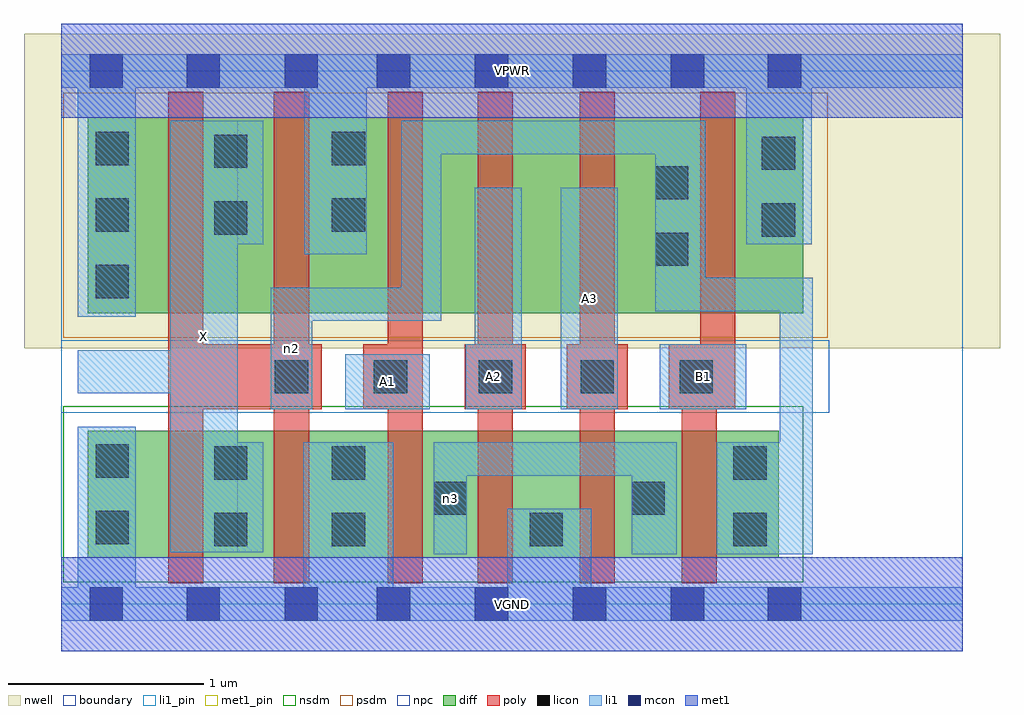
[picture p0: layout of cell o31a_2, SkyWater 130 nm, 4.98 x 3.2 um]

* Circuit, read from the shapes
.subckt o31a_2 A1 A2 A3 B1 VGND VPWR X n2 n3
XM1 X n2 VGND VSUBS sky130_fd_pr__nfet_01v8 w=0.65 l=0.18 m=2
XM2 n3 A1 VGND VSUBS sky130_fd_pr__nfet_01v8 w=0.65 l=0.18
XM3 VGND A2 n3 VSUBS sky130_fd_pr__nfet_01v8 w=0.65 l=0.18
XM4 n3 A3 VGND VSUBS sky130_fd_pr__nfet_01v8 w=0.65 l=0.18
XM5 n2 B1 n3 VSUBS sky130_fd_pr__nfet_01v8 w=0.65 l=0.18
XM6 X n2 VPWR n1 sky130_fd_pr__pfet_01v8 w=1 l=0.18 m=2
XM7 n4 A1 VPWR n1 sky130_fd_pr__pfet_01v8 w=1 l=0.18
XM8 n5 A2 n4 n1 sky130_fd_pr__pfet_01v8 w=1 l=0.18
XM9 n2 A3 n5 n1 sky130_fd_pr__pfet_01v8 w=1 l=0.18
XM10 VPWR B1 n2 n1 sky130_fd_pr__pfet_01v8 w=1 l=0.18
.ends

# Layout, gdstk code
import gdstk
lib = gdstk.Library(unit=1e-6, precision=1e-09)
def R(c, l, rs):  # rectangles x0, y0, x1, y1
    for r in rs: c.add(gdstk.rectangle(r[:2], r[2:], *l))
def A(c, l, x, y, w, h, nx, ny, dx, dy):  # array of equal rectangles
    R(c, l, [(x+i*dx, y+j*dy, x+i*dx+w, y+j*dy+h) for i in range(nx) for j in range(ny)])
nwell = (64, 20)
diff = (65, 20)
poly = (66, 20)
licon = (66, 44)
li1_pin = (67, 16)
li1 = (67, 20)
mcon = (67, 44)
met1_pin = (68, 16)
met1 = (68, 20)
nsdm = (93, 44)
psdm = (94, 20)
npc = (95, 20)
boundary = (235, 4)

o31a_2 = lib.new_cell('o31a_2')
R(o31a_2, nwell, [(-0.19,1.305,4.79,2.91), (0,1.305,4.6,2.91)])
R(o31a_2, diff, [(0.135,0.235,3.66,0.885), (0.135,1.485,3.785,2.485)])
R(o31a_2, poly, [(0.545,0.105,0.725,2.615), (1.085,0.105,1.265,2.615), (1.665,0.105,1.845,2.615), (2.125,0.105,2.305,2.615), (2.645,0.105,2.825,2.615), (3.165,0.105,3.345,1.325), (0.545,0.995,1.33,1.325), (1.54,0.995,1.845,1.325), (2.06,0.995,2.37,1.325), (2.58,0.995,2.89,1.325), (3.1,0.995,3.44,1.325), (3.26,0.995,3.44,2.615)])
A(o31a_2, licon, 0.175, 1.56, 0.17, 0.17, 1, 3, 0, 0.34)
R(o31a_2, licon, [(0.78,0.295,0.95,0.465), (1.38,0.295,1.55,0.465), (2.39,0.295,2.56,0.465), (3.43,0.295,3.6,0.465), (0.175,0.305,0.345,0.475), (1.9,0.455,2.07,0.625), (2.91,0.455,3.08,0.625), (0.78,0.635,0.95,0.805), (1.38,0.635,1.55,0.805), (3.43,0.635,3.6,0.805), (0.175,0.645,0.345,0.815), (1.09,1.075,1.26,1.245), (1.595,1.075,1.765,1.245), (2.13,1.075,2.3,1.245), (2.65,1.075,2.82,1.245), (3.155,1.075,3.325,1.245), (3.03,1.725,3.2,1.895), (3.575,1.875,3.745,2.045), (0.78,1.885,0.95,2.055), (1.38,1.9,1.55,2.07), (3.03,2.065,3.2,2.235), (3.575,2.215,3.745,2.385), (0.78,2.225,0.95,2.395), (1.38,2.24,1.55,2.41)])
R(o31a_2, li1_pin, [(0.555,0.265,0.9,2.465), (1.45,0.995,1.88,1.275), (2.065,0.995,2.35,1.325), (2.55,0.995,2.84,2.125), (3.055,0.995,3.495,1.325)])
R(o31a_2, li1, [(0,-0.085,4.6,0.085), (0.085,-0.085,0.38,0.905), (1.235,-0.085,1.695,0.825), (2.275,-0.085,2.705,0.485), (1.9,0.255,2.07,0.825), (2.91,0.255,3.14,0.825), (3.345,0.255,3.835,0.825), (3.665,0.255,3.835,1.665), (0.555,0.265,0.9,2.465), (0.555,0.265,1.03,0.825), (1.9,0.655,3.14,0.825), (1.07,0.995,1.28,1.615), (1.45,0.995,1.88,1.275), (2.065,0.995,2.35,1.325), (2.11,0.995,2.35,2.125), (2.55,0.995,2.84,2.125), (3.055,0.995,3.495,1.325), (0.085,1.075,0.9,1.295), (1.07,1.445,1.94,1.615), (1.735,1.445,1.94,2.465), (0.085,1.465,0.38,2.805), (3.03,1.495,3.285,2.465), (3.03,1.495,3.835,1.665), (1.24,1.785,1.56,2.805), (0.555,1.835,1.03,2.465), (3.495,1.835,3.83,2.805), (1.735,2.295,3.285,2.465), (0,2.635,4.6,2.805)])
A(o31a_2, mcon, 1.61, -0.085, 0.17, 0.17, 4, 2, 0.5, 2.72)
R(o31a_2, mcon, [(0.145,-0.085,0.315,0.085), (0.64,-0.085,0.81,0.085), (1.14,-0.085,1.31,0.085), (3.605,-0.085,3.775,0.085), (0.145,2.635,0.315,2.805), (0.64,2.635,0.81,2.805), (1.14,2.635,1.31,2.805), (3.605,2.635,3.775,2.805)])
R(o31a_2, met1_pin, [(0,-0.24,4.6,0.24), (0,2.48,4.6,2.96)])
R(o31a_2, met1, [(0,-0.24,4.6,0.24), (0,2.48,4.6,2.96)])
R(o31a_2, nsdm, [(0.01,0.11,3.785,1.01)])
R(o31a_2, psdm, [(0.01,1.36,3.91,2.61)])
R(o31a_2, npc, [(0,0.975,3.92,1.345)])
R(o31a_2, boundary, [(0,0,4.6,2.72)])
o31a_2.add(gdstk.Label('A1', (1.665,1.135), layer=67, texttype=5))
o31a_2.add(gdstk.Label('A2', (2.207,1.16), layer=67, texttype=5))
o31a_2.add(gdstk.Label('A3', (2.695,1.56), layer=67, texttype=5))
o31a_2.add(gdstk.Label('B1', (3.275,1.16), layer=67, texttype=5))
o31a_2.add(gdstk.Label('X', (0.727,1.365), layer=67, texttype=5))
o31a_2.add(gdstk.Label('n3', (1.985,0.54), layer=67, texttype=5))
o31a_2.add(gdstk.Label('n2', (1.175,1.305), layer=67, texttype=5))
o31a_2.add(gdstk.Label('VPWR', (2.3,2.72), layer=68, texttype=5))
o31a_2.add(gdstk.Label('VGND', (2.3,0), layer=68, texttype=5))
o31a_2.add(gdstk.Label('A1', (1.665,1.135), layer=67, texttype=16))
o31a_2.add(gdstk.Label('A2', (2.207,1.16), layer=67, texttype=16))
o31a_2.add(gdstk.Label('A3', (2.695,1.56), layer=67, texttype=16))
o31a_2.add(gdstk.Label('B1', (3.275,1.16), layer=67, texttype=16))
o31a_2.add(gdstk.Label('X', (0.727,1.365), layer=67, texttype=16))
o31a_2.add(gdstk.Label('VPWR', (2.3,2.72), layer=68, texttype=16))
o31a_2.add(gdstk.Label('VGND', (2.3,0), layer=68, texttype=16))

lib.write_gds('o31a_2.gds')
